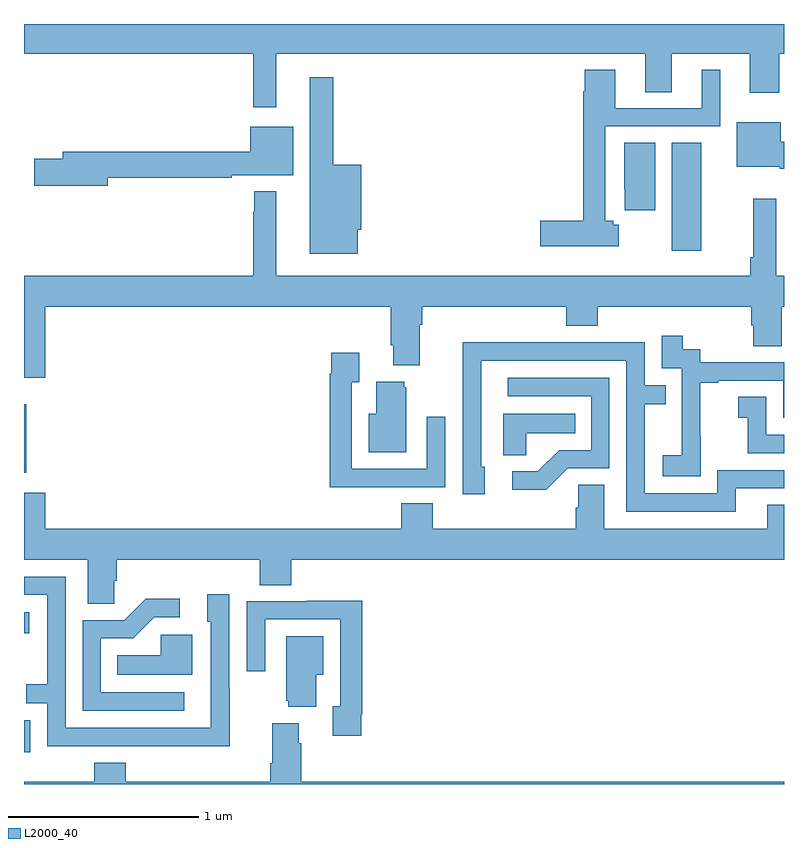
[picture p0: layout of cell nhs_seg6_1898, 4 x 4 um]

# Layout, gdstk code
import gdstk
lib = gdstk.Library(unit=1e-6, precision=1e-09)
def R(c, l, rs):  # rectangles x0, y0, x1, y1
    for r in rs: c.add(gdstk.rectangle(r[:2], r[2:], *l))
def P(c, l, *ps):  # polygons
    for p in ps: c.add(gdstk.Polygon(p, *l))
L2000_40 = (2000, 40)

nhs_seg6_1898 = lib.new_cell('nhs_seg6_1898')
R(nhs_seg6_1898, L2000_40, [(225,935.667,225.033,935.835), (225,936.293,225.028,936.403), (225,937.137,225.011,937.498), (228.41,938.307,228.565,938.876)])
P(nhs_seg6_1898, L2000_40, [(226.327,939.344),(228.269,939.344),(228.269,939.142),(228.409,939.142),(228.409,939.344),(228.821,939.344),(228.821,939.138),(228.974,939.138),(228.974,939.344),(229,939.344),(229,939.5),(225,939.5),(225,939.344),(226.206,939.344),(226.206,939.063),(226.327,939.063)],
  [(228.131,938.444),(228.102,938.444),(228.102,938.464),(228.06,938.464),(228.06,938.961),(228.664,938.961),(228.664,939.259),(228.566,939.259),(228.566,939.057),(228.112,939.057),(228.112,939.259),(227.951,939.259),(227.951,939.146),(227.944,939.146),(227.944,938.465),(227.718,938.465),(227.718,938.33),(228.131,938.33)],
  [(226.756,938.418),(226.774,938.418),(226.774,938.758),(226.627,938.758),(226.627,939.22),(226.505,939.22),(226.505,938.291),(226.756,938.291)],
  [(229,938.88),(228.982,938.88),(228.982,938.983),(228.752,938.983),(228.752,938.75),(228.978,938.75),(228.978,938.738),(229,938.738)],
  [(225.442,938.692),(226.094,938.692),(226.094,938.705),(226.417,938.705),(226.417,938.959),(226.19,938.959),(226.19,938.828),(225.203,938.828),(225.203,938.792),(225.054,938.792),(225.054,938.65),(225.442,938.65)],
  [(228.322,938.876),(228.158,938.876),(228.158,938.632),(228.161,938.632),(228.161,938.52),(228.322,938.52)],
  [(225.112,938.012),(226.931,938.012),(226.931,937.81),(226.943,937.81),(226.943,937.703),(227.083,937.703),(227.083,937.916),(227.096,937.916),(227.096,938.012),(227.855,938.012),(227.855,937.913),(228.02,937.913),(228.02,938.012),(228.827,938.012),(228.827,937.914),(228.839,937.914),(228.839,937.804),(228.987,937.804),(228.987,938.012),(229,938.012),(229,938.176),(228.959,938.176),(228.959,938.581),(228.838,938.581),(228.838,938.272),(228.823,938.272),(228.823,938.176),(226.327,938.176),(226.327,938.62),(226.212,938.62),(226.212,938.513),(226.206,938.513),(226.206,938.176),(225,938.176),(225,937.638),(225.112,937.638)],
  [(228.561,937.327),(228.56,937.327),(228.56,937.611),(228.655,937.611),(228.655,937.623),(228.996,937.623),(228.996,937.428),(229,937.428),(229,937.719),(228.558,937.719),(228.558,937.788),(228.466,937.788),(228.466,937.858),(228.357,937.858),(228.357,937.689),(228.462,937.689),(228.462,937.46),(228.461,937.46),(228.461,937.231),(228.363,937.231),(228.363,937.121),(228.561,937.121)],
  [(228.745,937.056),(229,937.056),(229,937.152),(228.648,937.152),(228.648,937.029),(228.267,937.029),(228.267,937.498),(228.377,937.498),(228.377,937.599),(228.267,937.599),(228.267,937.824),(227.771,937.824),(227.771,937.826),(227.308,937.826),(227.308,937.519),(227.31,937.519),(227.31,937.026),(227.425,937.026),(227.425,937.17),(227.406,937.17),(227.406,937.728),(228.171,937.728),(228.171,936.933),(228.745,936.933)],
  [(226.901,937.062),(227.217,937.062),(227.217,937.432),(227.121,937.432),(227.121,937.158),(226.725,937.158),(226.725,937.615),(226.765,937.615),(226.765,937.771),(226.617,937.771),(226.617,937.658),(226.609,937.658),(226.609,937.061),(226.901,937.061)],
  [(227.862,937.161),(228.081,937.161),(228.081,937.638),(227.547,937.638),(227.547,937.542),(227.985,937.542),(227.985,937.257),(227.816,937.257),(227.705,937.146),(227.571,937.146),(227.571,937.049),(227.749,937.049)],
  [(227.011,937.587),(227,937.587),(227,937.618),(226.853,937.618),(226.853,937.45),(226.814,937.45),(226.814,937.247),(227.011,937.247)],
  [(229,937.338),(228.906,937.338),(228.906,937.537),(228.759,937.537),(228.759,937.427),(228.808,937.427),(228.808,937.242),(229,937.242)],
  [(227.643,937.346),(227.9,937.346),(227.9,937.45),(227.522,937.45),(227.522,937.231),(227.643,937.231)],
  [(225.474,936.571),(225.488,936.571),(225.488,936.68),(226.241,936.68),(226.241,936.547),(226.406,936.547),(226.406,936.68),(229,936.68),(229,936.971),(228.911,936.971),(228.911,936.844),(228.055,936.844),(228.055,937.076),(227.916,937.076),(227.916,936.953),(227.903,936.953),(227.903,936.844),(227.15,936.844),(227.15,936.977),(226.985,936.977),(226.985,936.844),(225.112,936.844),(225.112,937.033),(225,937.033),(225,936.68),(225.335,936.68),(225.335,936.448),(225.474,936.448)],
  [(226.083,936.005),(226.08,936.005),(226.08,936.499),(225.965,936.499),(225.965,936.354),(225.984,936.354),(225.984,936.023),(225.983,936.023),(225.983,935.796),(225.219,935.796),(225.219,936.591),(225,936.591),(225,936.495),(225.123,936.495),(225.123,936.026),(225.013,936.026),(225.013,935.925),(225.123,935.925),(225.123,935.7),(225.619,935.7),(225.619,935.699),(226.083,935.699)],
  [(225.844,935.982),(225.405,935.982),(225.405,936.267),(225.574,936.267),(225.685,936.378),(225.82,936.378),(225.82,936.476),(225.641,936.476),(225.528,936.363),(225.309,936.363),(225.309,935.886),(225.844,935.886)],
  [(226.774,935.866),(226.781,935.866),(226.781,936.464),(226.489,936.464),(226.489,936.462),(226.173,936.462),(226.173,936.093),(226.269,936.093),(226.269,936.366),(226.665,936.366),(226.665,935.91),(226.625,935.91),(226.625,935.754),(226.774,935.754)],
  [(225.886,936.286),(225.721,936.286),(225.721,936.178),(225.49,936.178),(225.49,936.074),(225.886,936.074)],
  [(226.537,936.074),(226.576,936.074),(226.576,936.277),(226.379,936.277),(226.379,935.937),(226.391,935.937),(226.391,935.906),(226.537,935.906)],
  [(229,935.512),(226.46,935.512),(226.46,935.714),(226.447,935.714),(226.447,935.821),(226.307,935.821),(226.307,935.608),(226.295,935.608),(226.295,935.512),(225.536,935.512),(225.536,935.611),(225.371,935.611),(225.371,935.512),(225,935.512),(225,935.5),(229,935.5)])

lib.write_gds('nhs_seg6_1898.gds')
